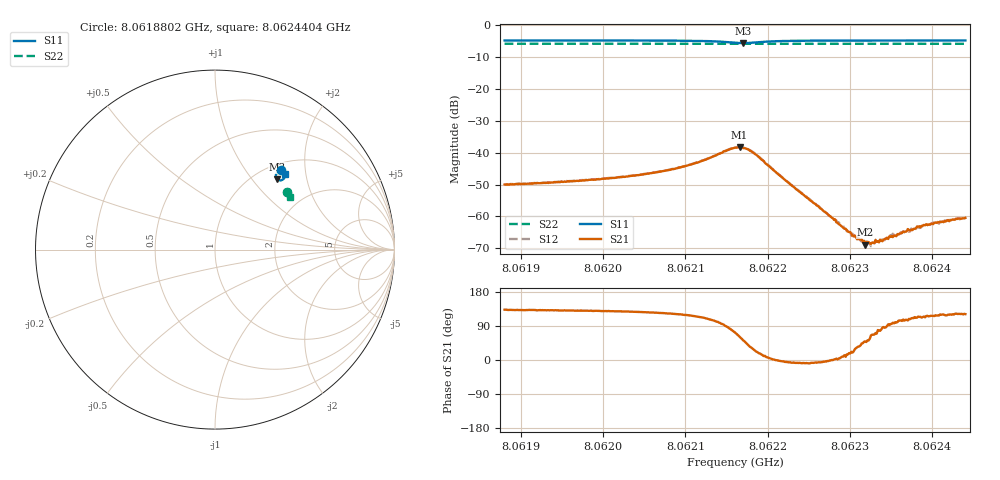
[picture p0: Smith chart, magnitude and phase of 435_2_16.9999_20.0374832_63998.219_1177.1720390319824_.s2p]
#  HZ  S  RI  R  50.00
! Rohde & Schwarz Vector Network Analyzer
! Rohde-Schwarz,ZNB20-2Port,1311601062101988,3.16
! Created: UTC 3/20/2024, 11:11:37 PM
! freq[Hz]  re:S11  im:S11  re:S21  im:S21  re:S12  im:S12  re:S22  im:S22
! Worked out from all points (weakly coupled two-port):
!   401 points, 8.0618802 GHz to 8.0624404 GHz, reference 50 ohm
!   highest |S21| = -38.27 dB at 8.0621659 GHz (marker M1); lowest = -68.8 dB at 8.0623186 GHz (marker M2)
!   lowest |S11| = -5.6 dB at 8.0621701 GHz (marker M3), VSWR 3.20, Z = 62.6 + j67.6 ohm
!   |S11| at or under -10 dB: nowhere
!   |S22| runs from -5.9 to -5.8 dB; largest |S21 - S12| = 0.00079
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8.06188021e9  0.3693 0.4421  -0.00215 0.00233  -0.00203 0.00243  0.3999 0.3184
8.06197405e9  0.3761 0.436  -0.00236 0.00279  -0.00224 0.00297  0.4033 0.3139
8.06203848e9  0.3814 0.4302  -0.00265 0.00349  -0.00244 0.00367  0.4058 0.3104
8.06206789e9  0.3843 0.4261  -0.00282 0.00415  -0.00261 0.00436  0.4069 0.309
8.06211271e9  0.3884 0.4146  -0.00294 0.00625  -0.00261 0.00648  0.4083 0.3061
8.06216033e9  0.3642 0.3857  0.00359 0.0115  0.00435 0.0113  0.4085 0.3029
8.06216593e9  0.3543 0.3876  0.00583 0.0107  0.0065 0.0104  0.4083 0.3029
8.06217013e9  0.3475 0.3918  0.00731 0.0094  0.00795 0.00908  0.4082 0.3032
8.06217713e9  0.3402 0.4025  0.00873 0.00685  0.00914 0.00643  0.4083 0.3033
8.06218694e9  0.3399 0.4181  0.0085 0.00335  0.00856 0.00286  0.4089 0.3034
8.06222475e9  0.3624 0.4355  0.00341 -0.000351  0.00342 -0.000565  0.4114 0.3021
8.06225416e9  0.3717 0.4344  0.0017 -0.00022  0.00167 -0.000343  0.4126 0.3006
8.06228918e9  0.3782 0.4321  0.000711 8.85e-05  0.000753 2.18e-05  0.4141 0.2986
8.06230459e9  0.3802 0.4309  0.000448 0.000188  0.000474 0.000181  0.4147 0.2978
8.06231299e9  0.3813 0.4305  0.000338 0.000273  0.000351 0.000227  0.4151 0.2975
8.06231859e9  0.3819 0.4299  0.000237 0.000274  0.000291 0.000277  0.4152 0.2972
8.06232699e9  0.3828 0.4295  0.000154 0.000358  0.000203 0.000312  0.4156 0.2968
8.0623396e9  0.384 0.4286  3.19e-05 0.000408  8.36e-05 0.000428  0.416 0.2959
8.062348e9  0.3849 0.4281  -1.86e-05 0.000487  1.33e-05 0.000486  0.4164 0.2956
8.06239002e9  0.3884 0.4254  -0.000308 0.000669  -0.000298 0.000647  0.4177 0.2933
8.06242223e9  0.3907 0.4234  -0.000439 0.000751  -0.000422 0.000783  0.4189 0.2917
8.06244044e9  0.3921 0.4224  -0.00049 0.000813  -0.000471 0.000829  0.4196 0.2907
